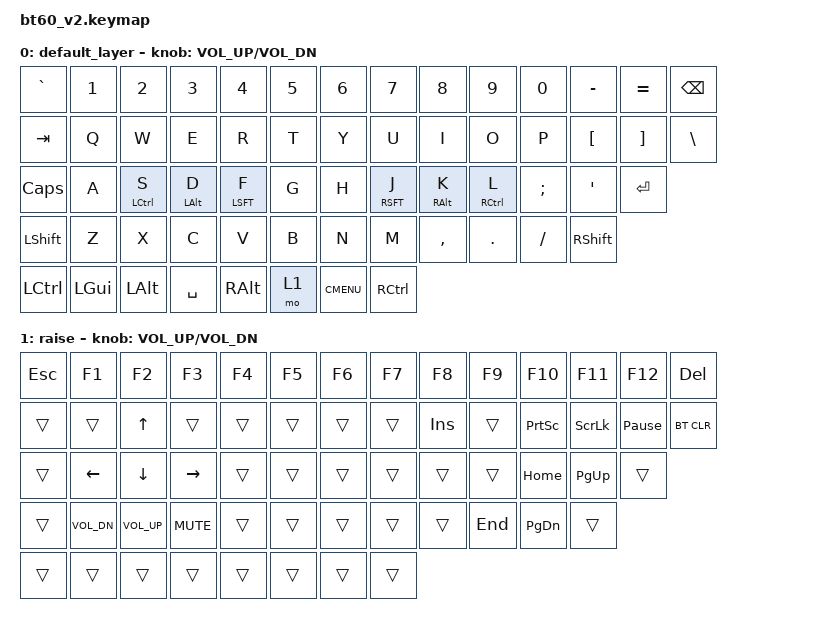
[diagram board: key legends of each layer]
#include <behaviors.dtsi>
#include <dt-bindings/zmk/keys.h>
#include <dt-bindings/zmk/bt.h>
#include <dt-bindings/zmk/rgb.h>
#include <dt-bindings/zmk/backlight.h>

#define ANSI
//#define ISO
//#define ALL_1U
//#define HHKB

/ {
  chosen {
  #ifdef ANSI
    zmk,matrix_transform = &ansi_transform;
  #elif defined(ISO)
    zmk,matrix_transform = &iso_transform;
  #elif defined(ALL_1U)
    zmk,matrix_transform = &all_1u_transform;
  #elif defined(HHKB)
    zmk,matrix_transform = &hhkb_transform;
  #else
  #error "Layout not defined, please define a layout by uncommenting the appropriate line in bt60_v2.keymap"
  #endif
  };

  behaviors {
      lh_pht: left_hand_positional_hold_tap {
          compatible = "zmk,behavior-hold-tap";
          #binding-cells = <2>;
          label = "LEFT_POSITIONAL_HOLD_TAP";
          flavor = "balanced";
          tapping-term-ms = <280>;
          quick-tap-ms = <175>;
          global-quick-tap;
          bindings = <&kp>, <&kp>;
          hold-trigger-key-positions = <
            6 7 8 9 10 11 12
            20 21 22 23 24 25 26
            34 35 36 37 38 39
            47 48 49 50 51
          >;    // <---[[right-hand keys]]
          hold-trigger-on-release;
      };
      rh_pht: right_hand_positional_hold_tap {
          compatible = "zmk,behavior-hold-tap";
          #binding-cells = <2>;
          label = "RIGHT_POSITIONAL_HOLD_TAP";
          flavor = "balanced";
          tapping-term-ms = <280>;
          quick-tap-ms = <175>;
          global-quick-tap;
          bindings = <&kp>, <&kp>;
          hold-trigger-key-positions = <
            1 2 3 4 5
            15 16 17 18 19
            29 30 31 32 33
            42 43 44 45 46
          >;    // <---[[left-hand keys]]
          hold-trigger-on-release;
      };
  };

  keymap {
    compatible = "zmk,keymap";
    #ifdef ANSI
    default_layer {
        // ------------------------------------------------------------------------------------------
        // |GRAVE | 1  |  2  |  3  |  4  |  5  |  6  |  7  |  8  |  9  |  0  |  -  |  =  |   BKSP   |
        // | TAB  |  Q  |  W  |  E  |  R  |  T  |  Y  |  U  |  I  |  O  |  P  |  [  |  ]  |   \     |
        // | CAPS  |  A  |  S  |  D  |  F  |  G  |  H  |  J  |  K  |  L  |  ;  |  '  |     ENTER    |
        // |  SHIFT    |  Z  |  X  |  C  |  V  |  B  |  N  |  M  |  ,  |  .  | /   |      SHIFT     |
        // |  CTL  |  WIN  |  ALT  |            SPACE               | ALT |   1  |  MENU   |  CTRL  |
        // ------------------------------------------------------------------------------------------
      bindings = <
        // pos  0   pos  1          pos  2          pos  3          pos  4          pos  5  pos  6       pos  7            pos  8          pos  9          pos 10            pos 11            pos 12     pos 13
        &kp GRAVE   &kp N1          &kp N2          &kp N3          &kp N4          &kp N5  &kp N6       &kp N7            &kp  N8         &kp  N9         &kp  N0           &kp MINUS         &kp EQUAL  &kp BSPC

        // pos 14   pos 15          pos 16          pos 17          pos 18          pos 19  pos 20       pos 21            pos 22          pos 23          pos 24            pos 25            pos 26     pos 27
        &kp TAB     &kp Q           &kp W           &kp E           &kp R           &kp T   &kp Y        &kp U             &kp  I          &kp  O          &kp  P            &kp LBKT          &kp RBKT   &kp BSLH

        // pos 28   pos 29          pos 30          pos 31          pos 32          pos 33  pos 34       pos 35            pos 36          pos 37          pos 38            pos 39            pos 40
        &kp CAPS    &kp A           &lh_pht LCTL S  &lh_pht LALT D  &lh_pht LSFT F  &kp G   &kp H        &rh_pht RSFT J    &rh_pht RALT K  &rh_pht RCTL L  &kp SEMI          &kp SQT           &kp RET

        // pos 41   pos 42          pos 43          pos 44          pos 45          pos 46  pos 47       pos 48            pos 49          pos 50          pos 51            pos 52
        &kp LSHFT   &kp Z           &kp X           &kp C           &kp V           &kp B   &kp N        &kp M             &kp COMMA       &kp DOT         &kp FSLH          &kp RSHFT

        // pos 53   pos 54          pos 55          pos 56          pos 57          pos 58  pos 59       pos 60
        &kp LCTRL   &kp LGUI        &kp LALT        &kp SPACE       &kp RALT        &mo 1   &kp K_CMENU  &kp RCTRL
      >;
      sensor-bindings = <&inc_dec_kp C_VOL_UP C_VOL_DN>;
    };
    raise {
        // ------------------------------------------------------------------------------------------
        // | ESC | F1  | F2  | F3  | F4  | F5  | F6  | F7  | F8  | F9  | F10 | F11 | F12 |    DEL   |
        // | TAB  |     | UP  |     |     |     |     |     | INS |     |PSCRN| SLCK| P_B | BT_CLR  |
        // | CAPS  | LEFT| DOWN|RIGHT|     |     |     |     |     |     | HOME| PGUP|              |
        // |  SHIFT   |VOLDN|VOLUP| MUTE|     |     |     |     |     | END | PGDN |                |
        // |       |       |       |                                |     |      |         |        |
        // ------------------------------------------------------------------------------------------
      bindings = <
        &kp ESC &kp F1 &kp F2 &kp F3 &kp F4 &kp F5 &kp F6 &kp F7 &kp F8 &kp F9 &kp F10 &kp F11 &kp F12 &kp DEL
        &trans &trans &kp UP &trans &trans &trans &trans &trans &kp INS &trans &kp PSCRN &kp SLCK &kp PAUSE_BREAK &bt BT_CLR
        &trans    &kp LEFT &kp DOWN &kp RIGHT &trans &trans &trans &trans &trans &trans &kp HOME  &kp PG_UP   &trans
        &trans   &kp C_VOL_DN &kp C_VOL_UP &kp C_MUTE &trans &trans &trans &trans &trans &kp END &kp PG_DN  &trans
        &trans &trans  &trans              &trans                            &trans   &trans   &trans &trans
      >;
      sensor-bindings = <&inc_dec_kp C_VOL_UP C_VOL_DN>;
    };
    #else
    #error "Layout not defined, please define a layout by uncommenting the appropriate line in bt60_v2.keymap"
    #endif

  };
};
